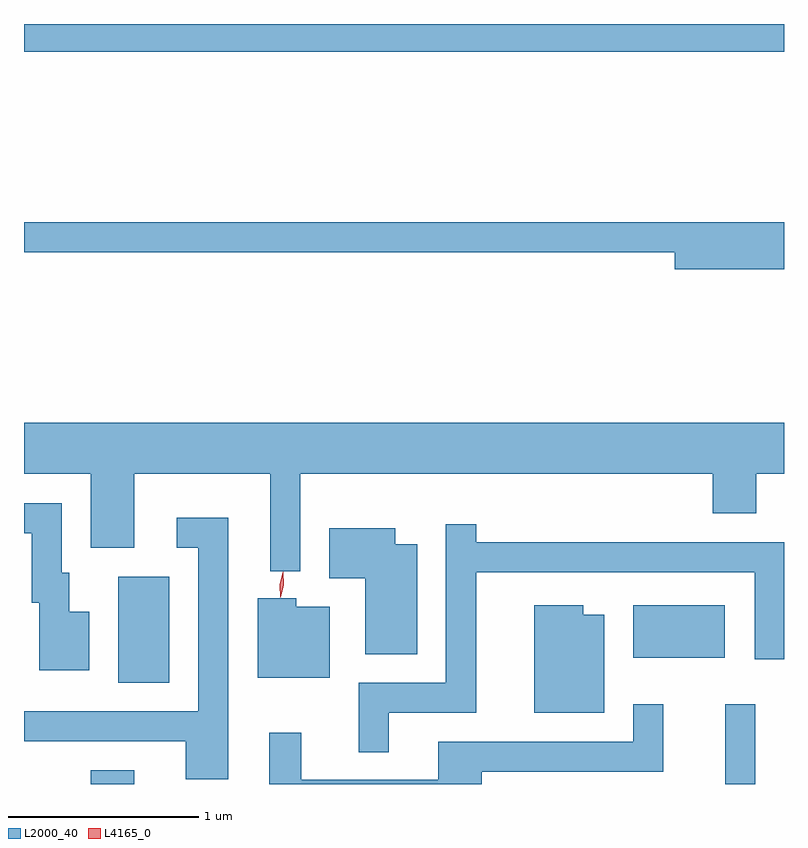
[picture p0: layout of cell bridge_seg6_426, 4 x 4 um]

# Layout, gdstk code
import gdstk
lib = gdstk.Library(unit=1e-6, precision=1e-09)
def R(c, l, rs):  # rectangles x0, y0, x1, y1
    for r in rs: c.add(gdstk.rectangle(r[:2], r[2:], *l))
def P(c, l, *ps):  # polygons
    for p in ps: c.add(gdstk.Polygon(p, *l))
L2000_40 = (2000, 40)
L4165_0 = (4165, 0)

bridge_seg6_426 = lib.new_cell('bridge_seg6_426')
R(bridge_seg6_426, L2000_40, [(815.661,1643.862,815.889,1643.934), (819.001,1643.862,819.159,1644.283), (815.806,1644.396,816.074,1644.954), (818.516,1644.526,818.999,1644.804), (815.31,1647.716,819.31,1647.862)])
P(bridge_seg6_426, L2000_40, [(819.31,1646.819),(815.31,1646.819),(815.31,1646.661),(818.736,1646.661),(818.736,1646.571),(819.31,1646.571)],
  [(816.764,1645.496),(818.936,1645.496),(818.936,1645.286),(819.164,1645.286),(819.164,1645.496),(819.31,1645.496),(819.31,1645.764),(815.31,1645.764),(815.31,1645.496),(815.661,1645.496),(815.661,1645.106),(815.889,1645.106),(815.889,1645.496),(816.606,1645.496),(816.606,1644.983),(816.764,1644.983)],
  [(815.654,1644.769),(815.549,1644.769),(815.549,1644.974),(815.509,1644.974),(815.509,1645.339),(815.31,1645.339),(815.31,1645.181),(815.351,1645.181),(815.351,1644.816),(815.391,1644.816),(815.391,1644.461),(815.654,1644.461)],
  [(816.384,1645.264),(816.113,1645.264),(816.113,1645.106),(816.226,1645.106),(816.226,1644.244),(815.31,1644.244),(815.31,1644.086),(816.161,1644.086),(816.161,1643.886),(816.384,1643.886)],
  [(817.229,1644.236),(817.689,1644.236),(817.689,1644.976),(819.156,1644.976),(819.156,1644.518),(819.31,1644.518),(819.31,1645.134),(817.689,1645.134),(817.689,1645.228),(817.531,1645.228),(817.531,1644.394),(817.071,1644.394),(817.071,1644.028),(817.229,1644.028)],
  [(817.379,1645.124),(817.264,1645.124),(817.264,1645.209),(816.916,1645.209),(816.916,1644.946),(817.106,1644.946),(817.106,1644.546),(817.379,1644.546)],
  [(816.919,1644.794),(816.744,1644.794),(816.744,1644.839),(816.541,1644.839),(816.541,1644.421),(816.919,1644.421)],
  [(818.364,1644.754),(818.254,1644.754),(818.254,1644.804),(817.996,1644.804),(817.996,1644.236),(818.364,1644.236)],
  [(817.719,1643.926),(818.674,1643.926),(818.674,1644.283),(818.516,1644.283),(818.516,1644.084),(817.491,1644.084),(817.491,1643.884),(816.769,1643.884),(816.769,1644.133),(816.601,1644.133),(816.601,1643.862),(817.719,1643.862)])
P(bridge_seg6_426, L4165_0, [(816.659,1644.845),(816.659,1644.845),(816.657,1644.912),(816.673,1644.977),(816.674,1644.978),(816.674,1644.977),(816.677,1644.91),(816.66,1644.845)])

lib.write_gds('bridge_seg6_426.gds')
